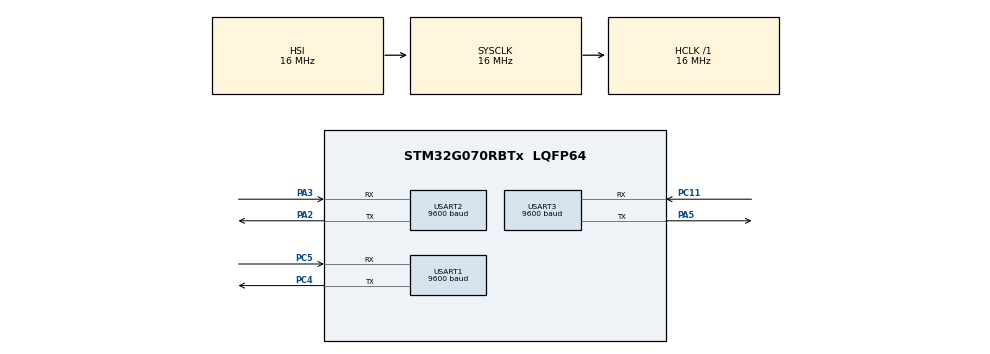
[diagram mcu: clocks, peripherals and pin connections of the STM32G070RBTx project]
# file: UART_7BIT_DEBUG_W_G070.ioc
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Mcu.Family=STM32G0
Mcu.Name=STM32G070RBTx
Mcu.Package=LQFP64
NVIC.USART1_IRQn=true\:0\:0\:false\:false\:true\:true\:true\:true
NVIC.USART2_IRQn=true\:0\:0\:false\:false\:true\:true\:true\:true
NVIC.USART3_4_IRQn=true\:0\:0\:false\:false\:true\:true\:true\:true
PA13.Mode=Serial_Wire
PA13.Signal=SYS_SWDIO
PA14-BOOT0.Mode=Serial_Wire
PA14-BOOT0.Signal=SYS_SWCLK
PA2.Mode=Asynchronous
PA2.Signal=USART2_TX
PA3.Mode=Asynchronous
PA3.Signal=USART2_RX
PA5.Mode=Asynchronous
PA5.Signal=USART3_TX
PC11.Mode=Asynchronous
PC11.Signal=USART3_RX
PC4.Mode=Asynchronous
PC4.Signal=USART1_TX
PC5.Mode=Asynchronous
PC5.Signal=USART1_RX
ProjectManager.HeapSize=0x200
ProjectManager.StackSize=0x400
ProjectManager.TargetToolchain=STM32CubeIDE
RCC.AHBFreq_Value=16000000
RCC.CortexFreq_Value=16000000
RCC.EXTERNAL_CLOCK_VALUE=48000
RCC.HCLKFreq_Value=16000000
RCC.HSE_VALUE=8000000
RCC.HSI_VALUE=16000000
RCC.LSE_VALUE=32768
RCC.SYSCLKFreq_VALUE=16000000
RCC.VCOOutputFreq_Value=128000000
USART1.BaudRate=9600
USART1.ClockPrescaler=PRESCALER_DIV1
USART1.FIFOMode=FIFOMODE_ENABLE
USART1.OneBitSampling=UART_ONE_BIT_SAMPLE_ENABLE
USART1.OverSampling=UART_OVERSAMPLING_16
USART1.Parity=PARITY_NONE
USART1.RXFIFOThreshold=RXFIFO_THRESHOLD_1EIGHTHFULL
USART1.TXFIFOThreshold=TXFIFO_THRESHOLD_1EIGHTHFULL
USART1.VirtualMode-Asynchronous=VM_ASYNC
USART1.WordLength=WORDLENGTH_8B
USART2.BaudRate=9600
USART2.FIFOMode=FIFOMODE_DISABLE
USART2.OneBitSampling=UART_ONE_BIT_SAMPLE_ENABLE
USART2.OverSampling=UART_OVERSAMPLING_16
USART2.Parity=PARITY_NONE
USART2.RXFIFOThreshold=RXFIFO_THRESHOLD_1EIGHTHFULL
USART2.TXFIFOThreshold=TXFIFO_THRESHOLD_1EIGHTHFULL
USART2.VirtualMode-Asynchronous=VM_ASYNC
USART2.WordLength=WORDLENGTH_8B
USART3.BaudRate=9600
USART3.OneBitSampling=UART_ONE_BIT_SAMPLE_ENABLE
USART3.VirtualMode-Asynchronous=VM_ASYNC
board=custom

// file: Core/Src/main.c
/* USER CODE BEGIN Header */
/**
  ******************************************************************************
  * @file           : main.c
  * @brief          : Main program body
  ******************************************************************************
  * @attention
  *
  * Copyright (c) 2024 STMicroelectronics.
  * All rights reserved.
  *
  * This software is licensed under terms that can be found in the LICENSE file
  * in the root directory of this software component.
  * If no LICENSE file comes with this software, it is provided AS-IS.
  *
  ******************************************************************************
  */
/* USER CODE END Header */
#include "main.h"

UART_HandleTypeDef huart1;
UART_HandleTypeDef huart2;
UART_HandleTypeDef huart3;

/* USER CODE BEGIN PV */

uint8_t uartFlag = 0 ;
uint8_t flag = 0;
uint8_t uartRXBuff1[255] = { 0 } ;
uint8_t uartRXBuff2[255] = { 0 } ;
uint8_t uartRXBuff3[255] = { 0 } ;
uint8_t uartRxBuffCount1 = 0;
uint8_t uartRxBuffCount2 = 0;
uint8_t uartRxBuffCount3 = 0;
uint8_t data[255];

uint8_t UART2_RX_Buffer[20] ;

/* USER CODE END PV */

void SystemClock_Config(void);
static void MX_GPIO_Init(void);
static void MX_USART1_UART_Init(void);
static void MX_USART2_UART_Init(void);
static void MX_USART3_UART_Init(void);

/* USER CODE BEGIN 0 */

static void removeAddr(uint8_t *source, uint8_t sourceSize)
{
	for(uint8_t i=0; i<sourceSize ; i++)
	{
		source[i] = source[i+1] ;
	}
}

void uart_bi_direction_init(uint8_t *uartFlag)
{

//	if(*uartFlag == 2)
//	{
//
//		  HAL_Delay(500);
//		  HAL_UART_Transmit(&huart1,&uartRXBuff2, uartRxBuffCount2, HAL_MAX_DELAY);
//		  memset(uartRXBuff2, 0, sizeof(uartRXBuff2));
//		  uartRxBuffCount2 = 0;
//		  *uartFlag == 0;
//
//
//	}
	if(*uartFlag == 1)
	{
		  HAL_Delay(100);
		  uint8_t addr = uartRXBuff1[0] ;
		  for(uint8_t i=0; i< uartRxBuffCount1; i++)
		  {
			  uartRXBuff1[i] = uartRXBuff1[i+1] ;
		  }

		  if( (addr - '0') == 3)
		  {
			  uartRxBuffCount1-- ;
			  HAL_UART_Transmit(&huart3,&uartRXBuff1,uartRxBuffCount1 , HAL_MAX_DELAY);
		  }
		  if( (addr - '0') == 2)
		  {
			  uartRxBuffCount1-- ;
			  HAL_UART_Transmit(&huart2,&uartRXBuff1, uartRxBuffCount1, HAL_MAX_DELAY);
		  }
		  memset(uartRXBuff1, 0, sizeof(uartRXBuff1));
		  uartRxBuffCount1 = 0;
		  *uartFlag == 0 ;

	}

 }

/* USER CODE END 0 */

int main(void)
{

  /* MCU Configuration--------------------------------------------------------*/

  /* Reset of all peripherals, Initializes the Flash interface and the Systick. */
  HAL_Init();

  /* Configure the system clock */
  SystemClock_Config();

  /* Initialize all configured peripherals */
  MX_GPIO_Init();
  MX_USART1_UART_Init();
  MX_USART2_UART_Init();
  MX_USART3_UART_Init();
  /* USER CODE BEGIN 2 */

  HAL_UART_Receive_IT(&huart2,&uartRXBuff2[uartRxBuffCount2],1);
  HAL_UART_Receive_IT(&huart1,&uartRXBuff1[uartRxBuffCount1],1);
  HAL_UART_Receive_IT(&huart3,&uartRXBuff3[uartRxBuffCount3],1);
//  HAL_UART_Transmit_IT(&huart1,&(huart->Instance->RDR), 1);

//  HAL_NVIC_SetPriority(USART1_IRQn, 0, 0);
//  HAL_NVIC_EnableIRQ(USART1_IRQn);
//
//  HAL_NVIC_SetPriority(USART2_IRQn, 2, 0);
//  HAL_NVIC_EnableIRQ(USART2_IRQn);

  /* USER CODE END 2 */

  /* Infinite loop */
  while (1)
  {

    /* USER CODE BEGIN 3 */

//	  if(uartFlag == 2)
//	  {
//
//		  HAL_Delay(100);
//		  uint8_t dtt[255];
//		  memcpy(dtt,uartRXBuff2,uartRxBuffCount2);
//		  HAL_UART_Transmit(&huart1, &uartRXBuff2, uartRxBuffCount2, HAL_MAX_DELAY);
//		  HAL_UART_Transmit_DMA(&huart1, &uartRXBuff2, uartRxBuffCount2);
////		  uartFlag = 0;
//		  memset(uartRXBuff2,0,sizeof(uartRXBuff2));
//		  uartRxBuffCount2 = 0;
//
//
//	  }
//	  if(uartFlag == 1)
//	  {
//
//		  HAL_Delay(100);
//		  uint8_t dtt[255];
//		  memcpy(dtt,uartRXBuff1,uartRxBuffCount1);
//		  HAL_UART_Transmit(&huart2, &uartRXBuff1, uartRxBuffCount1, HAL_MAX_DELAY);
////		  HAL_UART_Transmit_DMA(&huart2, &uartRXBuff1, uartRxBuffCount1);
//		  uartFlag = 0;
//		  memset(uartRXBuff1,0,sizeof(uartRXBuff1));
//		  uartRxBuffCount1 = 0;
//
//
//	  }

	  uart_bi_direction_init(&flag);

//	  	if( flag == 2)
//		{
//	  		flag = 0 ;
//	  		HAL_Delay(1000);
//	  		HAL_UART_Transmit(&huart1,&uartRXBuff2, uartRxBuffCount2, HAL_MAX_DELAY);
//	  		memset(uartRXBuff2, 0, sizeof(uartRXBuff2));
//	  		uartRxBuffCount2 = 0 ;
//
//		}
  }

  /* USER CODE END 3 */
}

void SystemClock_Config(void)
{
  RCC_OscInitTypeDef RCC_OscInitStruct = {0};
  RCC_ClkInitTypeDef RCC_ClkInitStruct = {0};

  /** Configure the main internal regulator output voltage
  */
  HAL_PWREx_ControlVoltageScaling(PWR_REGULATOR_VOLTAGE_SCALE1);

  /** Initializes the RCC Oscillators according to the specified parameters
  * in the RCC_OscInitTypeDef structure.
  */
  RCC_OscInitStruct.OscillatorType = RCC_OSCILLATORTYPE_HSI;
  RCC_OscInitStruct.HSIState = RCC_HSI_ON;
  RCC_OscInitStruct.HSIDiv = RCC_HSI_DIV1;
  RCC_OscInitStruct.HSICalibrationValue = RCC_HSICALIBRATION_DEFAULT;
  RCC_OscInitStruct.PLL.PLLState = RCC_PLL_NONE;
  if (HAL_RCC_OscConfig(&RCC_OscInitStruct) != HAL_OK)
  {
    Error_Handler();
  }

  /** Initializes the CPU, AHB and APB buses clocks
  */
  RCC_ClkInitStruct.ClockType = RCC_CLOCKTYPE_HCLK|RCC_CLOCKTYPE_SYSCLK
                              |RCC_CLOCKTYPE_PCLK1;
  RCC_ClkInitStruct.SYSCLKSource = RCC_SYSCLKSOURCE_HSI;
  RCC_ClkInitStruct.AHBCLKDivider = RCC_SYSCLK_DIV1;
  RCC_ClkInitStruct.APB1CLKDivider = RCC_HCLK_DIV1;

  if (HAL_RCC_ClockConfig(&RCC_ClkInitStruct, FLASH_LATENCY_0) != HAL_OK)
  {
    Error_Handler();
  }
}

static void MX_USART1_UART_Init(void)
{

  huart1.Instance = USART1;
  huart1.Init.BaudRate = 9600;
  huart1.Init.WordLength = UART_WORDLENGTH_8B;
  huart1.Init.StopBits = UART_STOPBITS_1;
  huart1.Init.Parity = UART_PARITY_NONE;
  huart1.Init.Mode = UART_MODE_TX_RX;
  huart1.Init.HwFlowCtl = UART_HWCONTROL_NONE;
  huart1.Init.OverSampling = UART_OVERSAMPLING_16;
  huart1.Init.OneBitSampling = UART_ONE_BIT_SAMPLE_ENABLE;
  huart1.Init.ClockPrescaler = UART_PRESCALER_DIV1;
  huart1.AdvancedInit.AdvFeatureInit = UART_ADVFEATURE_NO_INIT;
  if (HAL_UART_Init(&huart1) != HAL_OK)
  {
    Error_Handler();
  }
  if (HAL_UARTEx_SetTxFifoThreshold(&huart1, UART_TXFIFO_THRESHOLD_1_8) != HAL_OK)
  {
    Error_Handler();
  }
  if (HAL_UARTEx_SetRxFifoThreshold(&huart1, UART_RXFIFO_THRESHOLD_1_8) != HAL_OK)
  {
    Error_Handler();
  }
  if (HAL_UARTEx_EnableFifoMode(&huart1) != HAL_OK)
  {
    Error_Handler();
  }

}

static void MX_USART2_UART_Init(void)
{

  huart2.Instance = USART2;
  huart2.Init.BaudRate = 9600;
  huart2.Init.WordLength = UART_WORDLENGTH_8B;
  huart2.Init.StopBits = UART_STOPBITS_1;
  huart2.Init.Parity = UART_PARITY_NONE;
  huart2.Init.Mode = UART_MODE_TX_RX;
  huart2.Init.HwFlowCtl = UART_HWCONTROL_NONE;
  huart2.Init.OverSampling = UART_OVERSAMPLING_16;
  huart2.Init.OneBitSampling = UART_ONE_BIT_SAMPLE_ENABLE;
  huart2.Init.ClockPrescaler = UART_PRESCALER_DIV1;
  huart2.AdvancedInit.AdvFeatureInit = UART_ADVFEATURE_NO_INIT;
  if (HAL_UART_Init(&huart2) != HAL_OK)
  {
    Error_Handler();
  }
  if (HAL_UARTEx_SetTxFifoThreshold(&huart2, UART_TXFIFO_THRESHOLD_1_8) != HAL_OK)
  {
    Error_Handler();
  }
  if (HAL_UARTEx_SetRxFifoThreshold(&huart2, UART_RXFIFO_THRESHOLD_1_8) != HAL_OK)
  {
    Error_Handler();
  }
  if (HAL_UARTEx_DisableFifoMode(&huart2) != HAL_OK)
  {
    Error_Handler();
  }

}

static void MX_USART3_UART_Init(void)
{

  huart3.Instance = USART3;
  huart3.Init.BaudRate = 9600;
  huart3.Init.WordLength = UART_WORDLENGTH_8B;
  huart3.Init.StopBits = UART_STOPBITS_1;
  huart3.Init.Parity = UART_PARITY_NONE;
  huart3.Init.Mode = UART_MODE_TX_RX;
  huart3.Init.HwFlowCtl = UART_HWCONTROL_NONE;
  huart3.Init.OverSampling = UART_OVERSAMPLING_16;
  huart3.Init.OneBitSampling = UART_ONE_BIT_SAMPLE_ENABLE;
  huart3.Init.ClockPrescaler = UART_PRESCALER_DIV1;
  huart3.AdvancedInit.AdvFeatureInit = UART_ADVFEATURE_NO_INIT;
  if (HAL_UART_Init(&huart3) != HAL_OK)
  {
    Error_Handler();
  }

}

static void MX_GPIO_Init(void)
{

  /* GPIO Ports Clock Enable */
  __HAL_RCC_GPIOC_CLK_ENABLE();
  __HAL_RCC_GPIOA_CLK_ENABLE();

}

/* USER CODE BEGIN 4 */

void HAL_UART_RxCpltCallback(UART_HandleTypeDef *huart)
{

  if(huart == &huart2)
  {
	  HAL_UART_Transmit(&huart1,&(huart->Instance->RDR), 1, 0);
	  HAL_UART_Receive_IT(&huart2,&uartRXBuff2[uartRxBuffCount2],1);
  }
  if(huart == &huart3)
  {
	  HAL_UART_Transmit(&huart1,&(huart->Instance->RDR), 1, 0);
	  HAL_UART_Receive_IT(&huart3,&uartRXBuff3[uartRxBuffCount3],1);
  }
  if(huart == &huart1)
  {
	  uartRXBuff1[uartRxBuffCount1++] =  huart->Instance->RDR;
	  flag = 1 ;
	  HAL_UART_Receive_IT(&huart1,&uartRXBuff1[uartRxBuffCount1],1);
  }

}

/* USER CODE END 4 */

void Error_Handler(void)
{
  __disable_irq();
  while (1)
  {
  }
}
